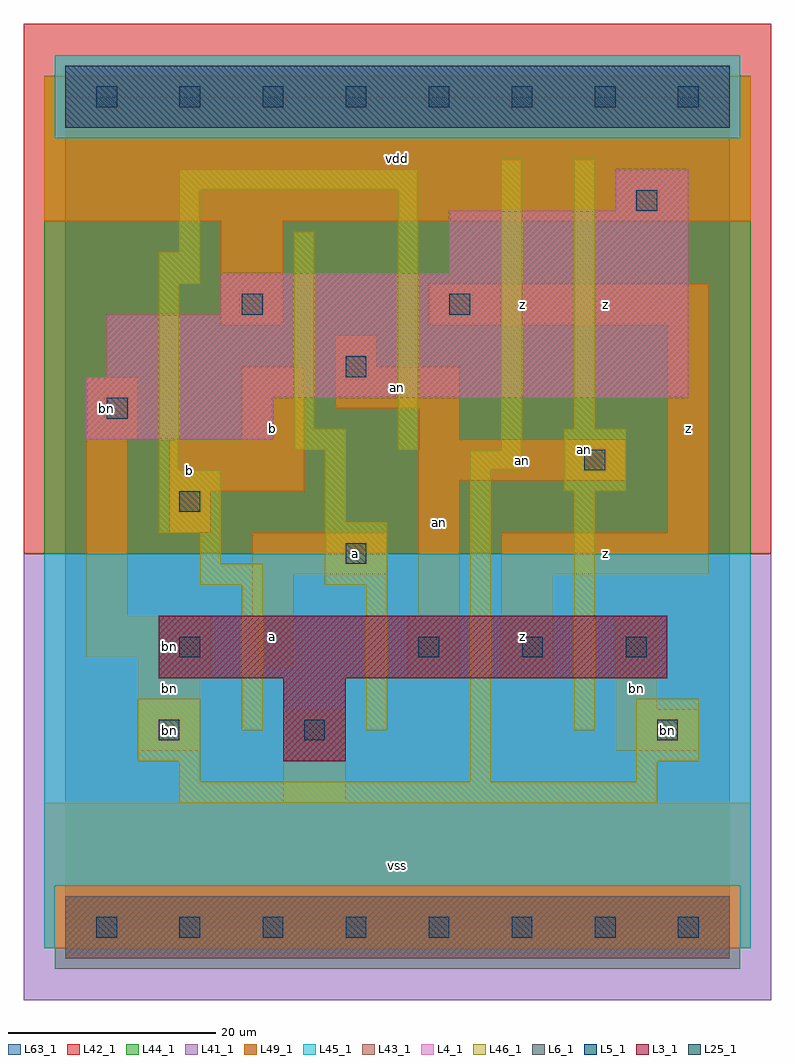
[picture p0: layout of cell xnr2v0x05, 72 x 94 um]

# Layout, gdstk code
import gdstk
lib = gdstk.Library(unit=1e-6, precision=1e-09)
def R(c, l, rs):  # rectangles x0, y0, x1, y1
    for r in rs: c.add(gdstk.rectangle(r[:2], r[2:], *l))
def A(c, l, x, y, w, h, nx, ny, dx, dy):  # array of equal rectangles
    R(c, l, [(x+i*dx, y+j*dy, x+i*dx+w, y+j*dy+h) for i in range(nx) for j in range(ny)])
L3_1 = (3, 1)
L4_1 = (4, 1)
L5_1 = (5, 1)
L6_1 = (6, 1)
L25_1 = (25, 1)
L41_1 = (41, 1)
L42_1 = (42, 1)
L43_1 = (43, 1)
L44_1 = (44, 1)
L45_1 = (45, 1)
L46_1 = (46, 1)
L49_1 = (49, 1)
L63_1 = (63, 1)

xnr2v0x05 = lib.new_cell('xnr2v0x05')
R(xnr2v0x05, L3_1, [(21,16,27,24), (9,24,58,30)])
R(xnr2v0x05, L4_1, [(2,47,20,51), (2,51,60,53), (4,53,60,59), (15,59,60,63), (37,63,60,69), (53,69,60,73)])
R(xnr2v0x05, L5_1, [(0,77,64,83)])
R(xnr2v0x05, L6_1, [(0,-3,64,3), (0,-3,64,3)])
A(xnr2v0x05, L25_1, 3, -1, 2, 2, 8, 2, 8, 80)
A(xnr2v0x05, L25_1, 34, 26, 2, 2, 3, 1, 10, 0)
R(xnr2v0x05, L25_1, [(9,18,11,20), (23,18,25,20), (57,18,59,20), (11,26,13,28), (27,35,29,37), (11,40,13,42), (50,44,52,46), (4,49,6,51), (27,53,29,55), (17,59,19,61), (37,59,39,61), (55,69,57,71)])
R(xnr2v0x05, L41_1, [(-4,-7,68,36)])
R(xnr2v0x05, L42_1, [(-4,36,68,87)])
R(xnr2v0x05, L43_1, [(0,-3,64,3), (21,16,27,24), (9,24,58,30), (2,47,20,51), (2,51,60,53), (4,53,60,59), (15,59,60,63), (37,63,60,69), (53,69,60,73), (0,77,64,83)])
R(xnr2v0x05, L44_1, [(-1,-4,65,4), (-2,36,66,76), (-2,76,-1,82), (65,76,66,82)])
R(xnr2v0x05, L45_1, [(-2,-2,-1,4), (65,-2,66,4), (-2,4,66,36), (-1,76,65,84)])
R(xnr2v0x05, L46_1, [(11,12,57,14), (11,14,13,16), (39,14,41,44), (55,14,57,16), (7,16,13,22), (55,16,61,22), (17,19,19,33), (29,19,31,33), (49,19,51,42), (13,33,19,35), (25,33,31,39), (13,35,15,38), (9,38,15,44), (25,39,27,46), (48,42,54,48), (9,44,11,62), (39,44,44,46), (22,46,27,48), (32,46,34,71), (42,46,44,74), (22,48,24,67), (49,48,51,74), (9,62,13,65), (11,65,13,71), (11,71,34,73)])
R(xnr2v0x05, L49_1, [(-2,-2,66,12), (21,12,27,21), (7,17,13,24), (53,17,61,21), (53,21,57,30), (7,24,14,26), (33,24,38,30), (42,24,47,34), (18,25,22,34), (2,26,14,30), (2,30,6,47), (34,30,38,43), (18,34,31,38), (42,34,62,38), (10,38,14,42), (58,38,62,58), (10,42,23,47), (34,43,54,47), (2,47,7,53), (17,47,23,54), (34,47,38,50), (26,50,38,54), (26,54,30,57), (15,58,21,68), (35,58,62,62), (-2,68,66,82)])
R(xnr2v0x05, L63_1, [(0,0,64,80)])
xnr2v0x05.add(gdstk.Label('bn', (10,19), layer=49, texttype=1))
xnr2v0x05.add(gdstk.Label('bn', (58,19), layer=49, texttype=1))
xnr2v0x05.add(gdstk.Label('an', (50,46), layer=49, texttype=1))
xnr2v0x05.add(gdstk.Label('bn', (4,50), layer=49, texttype=1))
xnr2v0x05.add(gdstk.Label('bn', (10,27), layer=49, texttype=1))
xnr2v0x05.add(gdstk.Label('bn', (10,23), layer=49, texttype=1))
xnr2v0x05.add(gdstk.Label('a', (20,28), layer=49, texttype=1))
xnr2v0x05.add(gdstk.Label('b', (12,44), layer=49, texttype=1))
xnr2v0x05.add(gdstk.Label('b', (20,48), layer=49, texttype=1))
xnr2v0x05.add(gdstk.Label('vss', (32,6), layer=49, texttype=1))
xnr2v0x05.add(gdstk.Label('a', (28,36), layer=49, texttype=1))
xnr2v0x05.add(gdstk.Label('an', (32,52), layer=49, texttype=1))
xnr2v0x05.add(gdstk.Label('an', (36,39), layer=49, texttype=1))
xnr2v0x05.add(gdstk.Label('vdd', (32,74), layer=49, texttype=1))
xnr2v0x05.add(gdstk.Label('z', (44,28), layer=49, texttype=1))
xnr2v0x05.add(gdstk.Label('z', (44,60), layer=49, texttype=1))
xnr2v0x05.add(gdstk.Label('bn', (57,19), layer=49, texttype=1))
xnr2v0x05.add(gdstk.Label('bn', (55,23), layer=49, texttype=1))
xnr2v0x05.add(gdstk.Label('z', (52,36), layer=49, texttype=1))
xnr2v0x05.add(gdstk.Label('an', (44,45), layer=49, texttype=1))
xnr2v0x05.add(gdstk.Label('z', (60,48), layer=49, texttype=1))
xnr2v0x05.add(gdstk.Label('z', (52,60), layer=49, texttype=1))

lib.write_gds('xnr2v0x05.gds')
